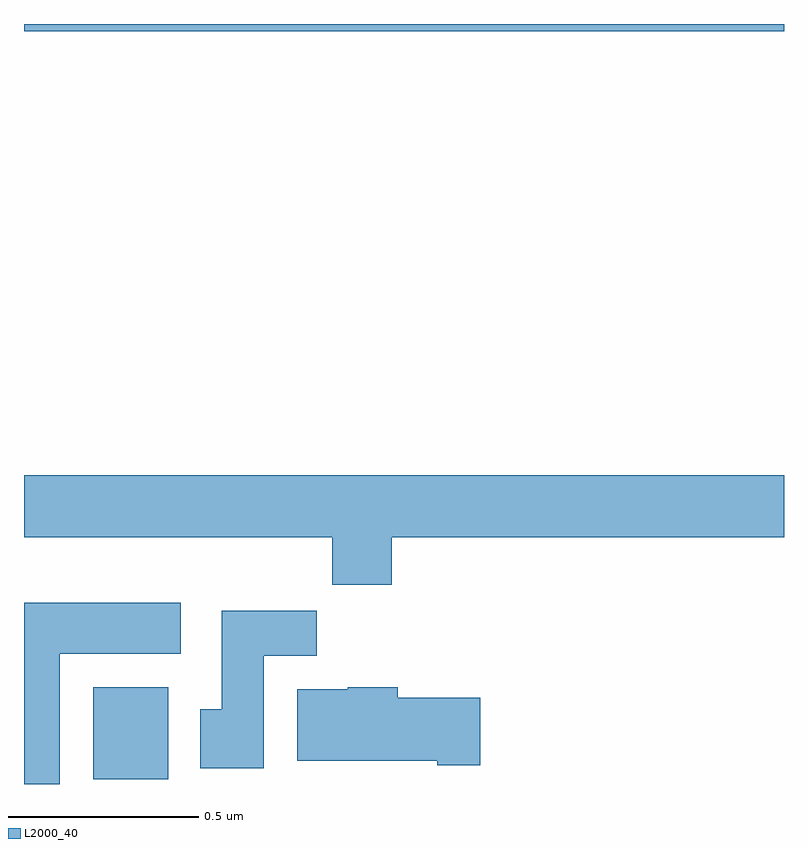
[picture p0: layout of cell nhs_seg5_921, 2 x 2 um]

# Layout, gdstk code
import gdstk
lib = gdstk.Library(unit=1e-6, precision=1e-09)
def R(c, l, rs):  # rectangles x0, y0, x1, y1
    for r in rs: c.add(gdstk.rectangle(r[:2], r[2:], *l))
def P(c, l, *ps):  # polygons
    for p in ps: c.add(gdstk.Polygon(p, *l))
L2000_40 = (2000, 40)

nhs_seg5_921 = lib.new_cell('nhs_seg5_921')
R(nhs_seg5_921, L2000_40, [(123.182,834.812,123.379,835.054), (123,836.78,125,836.799)])
P(nhs_seg5_921, L2000_40, [(123.968,835.448),(125,835.448),(125,835.612),(123,835.612),(123,835.448),(123.811,835.448),(123.811,835.324),(123.968,835.324)],
  [(123.094,835.142),(123.412,835.142),(123.412,835.276),(123,835.276),(123,834.799),(123.094,834.799)],
  [(123.631,835.136),(123.77,835.136),(123.77,835.255),(123.521,835.255),(123.521,834.996),(123.464,834.996),(123.464,834.84),(123.631,834.84)],
  [(124.201,835.026),(123.983,835.026),(123.983,835.054),(123.852,835.054),(123.852,835.048),(123.719,835.048),(123.719,834.86),(124.088,834.86),(124.088,834.848),(124.201,834.848)])

lib.write_gds('nhs_seg5_921.gds')
